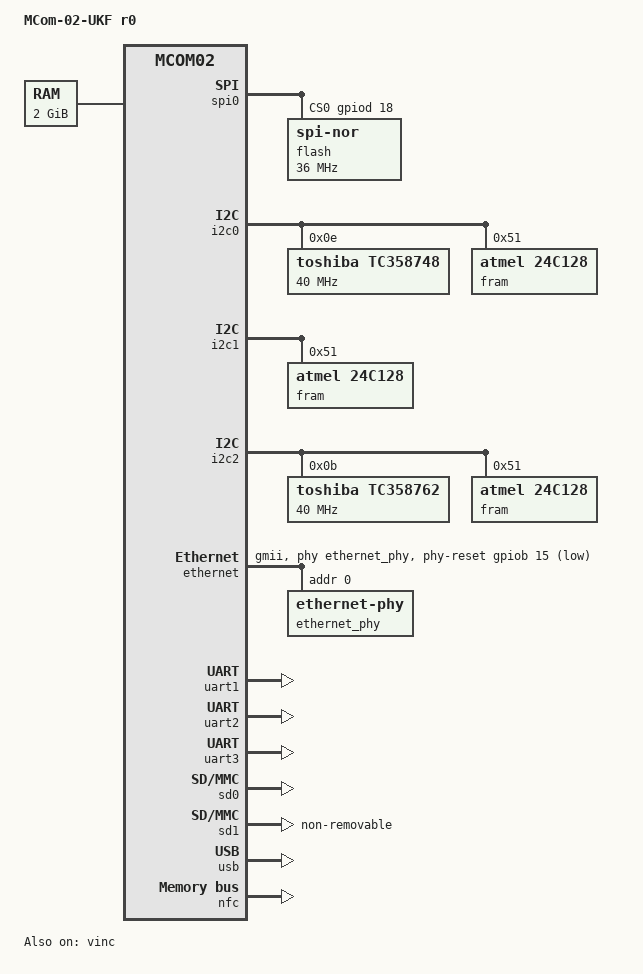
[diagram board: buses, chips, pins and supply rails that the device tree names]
/*
 * Copyright 2018 RnD Center "ELVEES", JSC
 *
 * This program is free software; you can redistribute it and/or modify
 * it under the terms of the GNU General Public License version 2 as
 * published by the Free Software Foundation.
 */

/dts-v1/;

#include <dt-bindings/gpio/gpio.h>
#include <dt-bindings/net/ti-dp83867.h>
#include <dt-bindings/interrupt-controller/irq.h>

#include "mcom02.dtsi"

/ {
	model = "MCom-02-UKF r0";
	compatible = "elvees,mcom02-ukf-r0",
		     "elvees,mcom02-ukf",
		     "elvees,mcom02";

	chosen {
		bootargs = "console=ttyS0,115200";
	};

	aliases {
		spi0 = &spi0;
	};

	memory {
		device_type = "memory";
		reg = <0x40000000 0x40000000
		       0xa0000000 0x40000000>;
	};
};

&spi0 {
	status = "okay";
	num-cs = <1>;
	/* Third argument of "cs-gpios" property is set to 0,
	 * because it is ignored by the SPI driver. */
	cs-gpios = <&gpiod 18 0>;

	flash: flash@0 {
		#address-cells = <1>;
		#size-cells = <1>;
		compatible = "jedec,spi-nor", "spi-flash";
		reg = <0>;
		spi-max-frequency = <36000000>;
		m25p,fast-read;
		u-boot,dm-pre-reloc;
	};
};

&vinc {
	status = "okay";
	ports {
		#address-cells = <1>;
		#size-cells = <0>;

		port@0 {
			#address-cells = <1>;
			#size-cells = <0>;
			reg = <0>;

			vinc_endpoint0: endpoint@0 {
				reg = <0>;
				remote-endpoint = <&tc358762_endpoint>;
				elvees,ifacenum = /bits/ 8 <0>;
			};
		};

		port@1 {
			#address-cells = <1>;
			#size-cells = <0>;
			reg = <1>;

			vinc_endpoint1: endpoint@1 {
				reg = <1>;
				remote-endpoint = <&tc358748_endpoint>;
				elvees,ifacenum = /bits/ 8 <2>;
			};
		};
	};
};

&i2c0 {
	status = "okay";

	tc358748@0e {
		compatible = "toshiba,tc358748";
		reg = <0x0e>;
		clock-frequency = <40000000>;
		pixel-frequency = <126000000>;
		vvalid-invert;
		port {
			tc358748_endpoint: endpoint {
				remote = <&vinc_endpoint1>;
			};
		};
	};

	fram@51 {
		#address-cells = <1>;
		#size-cells = <1>;
		compatible = "atmel,24c128", "i2c-eeprom";
		reg = <0x51>;
	};
};

&i2c1 {
	status = "okay";

	fram@51 {
		#address-cells = <1>;
		#size-cells = <1>;
		compatible = "atmel,24c128", "i2c-eeprom";
		reg = <0x51>;
	};
};

&i2c2 {
	status = "okay";

	tc358762@0b {
		compatible = "toshiba,tc358762";
		reg = <0x0b>;
		clock-frequency = <40000000>;
		pixel-frequency = <16000000>;
		port {
			tc358762_endpoint: endpoint {
				remote = <&vinc_endpoint0>;
			};
		};
	};

	fram@51 {
		#address-cells = <1>;
		#size-cells = <1>;
		compatible = "atmel,24c128", "i2c-eeprom";
		reg = <0x51>;
	};
};

&ethernet {
	#address-cells = <1>;
	#size-cells = <0>;
	status = "okay";
	phy-mode = "gmii";
	phy-handle = <&ethernet_phy>;
	phy-reset-gpios = <&gpiob 15 GPIO_ACTIVE_LOW>;
	txclk-125en-gpios = <&gpiob 14 GPIO_ACTIVE_HIGH>;

	ethernet_phy: ethernet-phy@0 {
		reg = <0x0>;
	};
};

&framebuffer {
	status = "okay";
};

&uart1 {
	status = "okay";
};

&uart2 {
	status = "okay";
};

&uart3 {
	status = "okay";
};

&sd0 {
	status = "okay";
	sd-uhs-sdr50;
	sd-uhs-sdr104;
	sd-uhs-ddr50;
};

&sd1 {
	status = "okay";
	non-removable;
};

&usb {
	status = "okay";
};

&nfc {
	status = "okay";
};

&gpiod {
	skip-gpio-list = <13>;
};

&cpu0 {
	operating-points = <840000 1100000>;
};

&cpllclk {
	clock-mult = <14>;
};

&dpllclk {
	clk-mult-initial = <29>;
};

&spllclk {
	clk-mult-initial = <12>;
};

&upllclk {
	clk-mult-initial = <16>;
};

&l3_pclk {
	clock-div = <2>;
};
